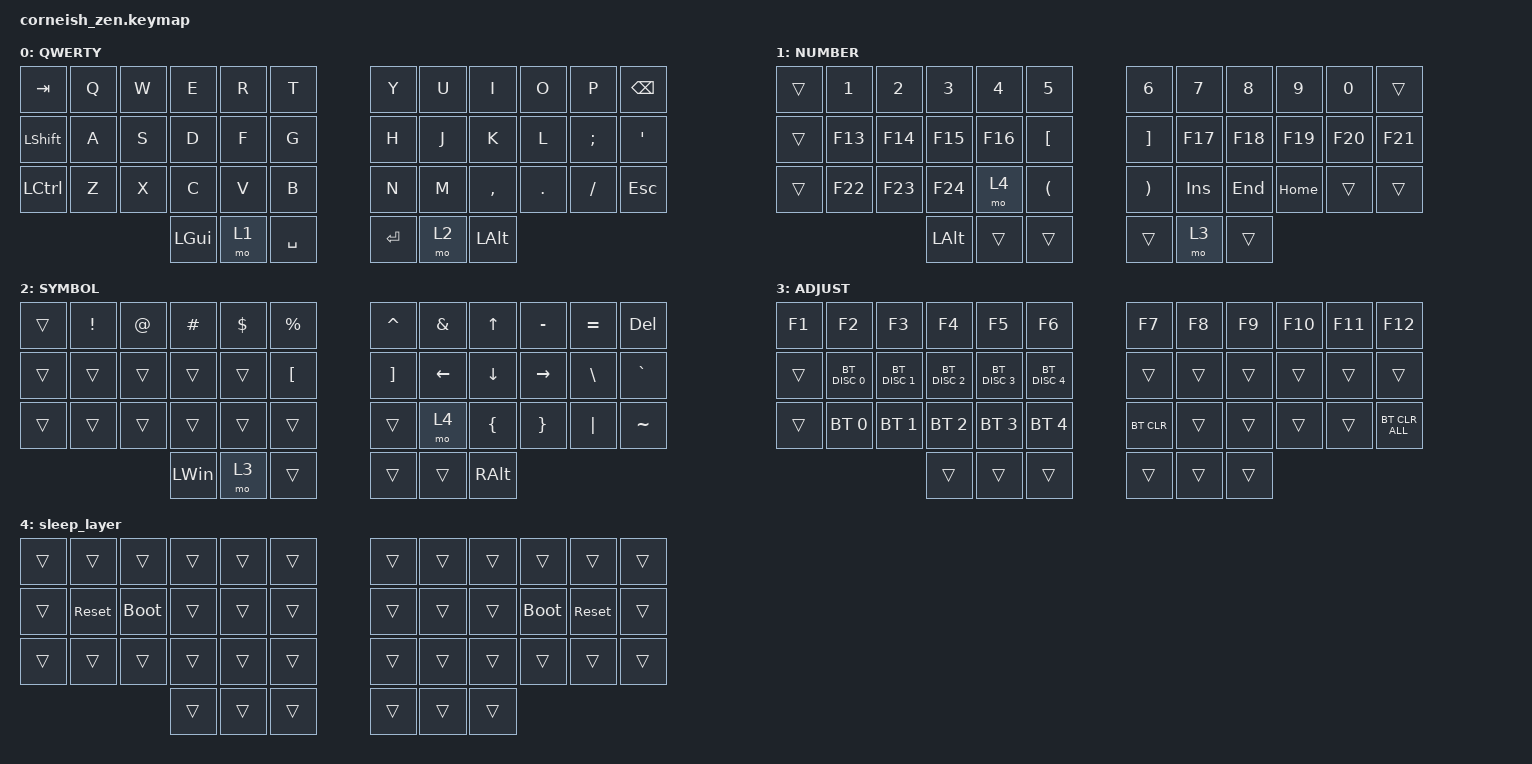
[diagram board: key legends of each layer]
/*
*
* Copyright (c) 2021 Darryl deHaan
* SPDX-License-Identifier: MIT
*
*/

#include <behaviors.dtsi>
#include <dt-bindings/zmk/bt.h>
#include <dt-bindings/zmk/keys.h>

/ {
    chosen {
        zmk,physical-layout = &foostan_corne_6col_layout;

        // zmk,physical-layout = &foostan_corne_5col_layout;
    };
};

/ {
    keymap {
        compatible = "zmk,keymap";

        default_layer {
            display-name = "QWERTY";

            // --------------------------------------------------------------------------------
            // |  TAB |  Q  |  W  |  E  |  R  |  T  |   |  Y  |  U   |  I  |  O  |  P  | BSPC |
            // | CTRL |  A  |  S  |  D  |  F  |  G  |   |  H  |  J   |  K  |  L  |  ;  |  '   |
            // | SHFT |  Z  |  X  |  C  |  V  |  B  |   |  N  |  M   |  ,  |  .  |  /  | ESC  |
            //                    | GUI | LWR | SPC |   | ENT | RSE  | ALT |

            bindings = <
&kp TAB           &kp Q  &kp W  &kp E     &kp R  &kp T        &kp Y    &kp U  &kp I      &kp O    &kp P     &kp BSPC
&kp LEFT_SHIFT    &kp A  &kp S  &kp D     &kp F  &kp G        &kp H    &kp J  &kp K      &kp L    &kp SEMI  &kp SQT
&kp LEFT_CONTROL  &kp Z  &kp X  &kp C     &kp V  &kp B        &kp N    &kp M  &kp COMMA  &kp DOT  &kp FSLH  &kp ESC
                                &kp LGUI  &mo 1  &kp SPACE    &kp RET  &mo 2  &kp LALT
            >;
        };

        lower_layer {
            display-name = "NUMBER";

            // -----------------------------------------------------------------------------------------
            // |  TAB |  1  |  2  |  3  |  4  |  5  |   |  6  |  7  |  8  |  9  |  0  | BSPC |
            // | BTCLR| BT1 | BT2 | BT3 | BT4 | BT5 |   | LFT | DWN |  UP | RGT |     |      |
            // | SHFT |     |     |     |     |     |   |     |     |     |     |     |      |
            //                    | GUI |     | SPC |   | ENT | ADJ | ALT |

            bindings = <
&trans  &kp N1   &kp N2   &kp N3    &kp N4   &kp N5                  &kp N6                 &kp N7      &kp N8   &kp N9    &kp N0   &trans
&trans  &kp F13  &kp F14  &kp F15   &kp F16  &kp LEFT_BRACKET        &kp RIGHT_BRACKET      &kp F17     &kp F18  &kp F19   &kp F20  &kp F21
&trans  &kp F22  &kp F23  &kp F24   &mo 4    &kp LEFT_PARENTHESIS    &kp RIGHT_PARENTHESIS  &kp INSERT  &kp END  &kp HOME  &trans   &trans
                          &kp LALT  &trans   &trans                  &trans                 &mo 3       &trans
            >;
        };

        raise_layer {
            display-name = "SYMBOL";

            // -----------------------------------------------------------------------------------------
            // |  TAB |  !  |  @  |  #  |  $  |  %  |   |  ^  |  &  |  *  |  (  |  )  | BSPC |
            // | CTRL |     |     |     |     |     |   |  -  |  =  |  [  |  ]  |  \  |  `   |
            // | SHFT |     |     |     |     |     |   |  _  |  +  |  {  |  }  | "|" |  ~   |
            //                    | GUI | ADJ | SPC |   | ENT |     | ALT |

            bindings = <
&trans  &kp EXCL  &kp AT  &kp HASH      &kp DLLR  &kp PRCNT           &kp CARET          &kp AMPS  &kp UP_ARROW  &kp MINUS  &kp EQUAL  &kp DEL
&trans  &trans    &trans  &trans        &trans    &kp LEFT_BRACKET    &kp RIGHT_BRACKET  &kp LEFT  &kp DOWN      &kp RIGHT  &kp BSLH   &kp GRAVE
&trans  &trans    &trans  &trans        &trans    &trans              &trans             &mo 4     &kp LBRC      &kp RBRC   &kp PIPE   &kp TILDE
                          &kp LEFT_WIN  &mo 3     &trans              &trans             &trans    &kp RALT
            >;
        };

        adjust_layer {
            display-name = "ADJUST";

            // -----------------------------------------------------------------------------------------
            // |  F1  |  F2  |  F3  |  F4  |  F5  |  F6  |   |  F7  |  F8  |  F9  | F10  | F11  | F12  |
            // |  STD |      |      |      |      |      |   |      |      |      |      |      |      |
            // |      |      |      |      |      |      |   |      |      |      |      |      |      |
            //                      |      |      |      |   |      |      |      |

            bindings = <
&kp F1          &kp F2           &kp F3           &kp F4           &kp F5        &kp F6          &kp F7      &kp F8  &kp F9  &kp F10  &kp F11  &kp F12
&trans          &bt BT_DISC 0    &bt BT_DISC 1    &bt BT_DISC 2    &bt BT_DISC 3 &bt BT_DISC 4   &trans      &trans  &trans  &trans   &trans   &trans
&trans          &bt BT_SEL 0     &bt BT_SEL 1     &bt BT_SEL 2     &bt BT_SEL 3  &bt BT_SEL 4    &bt BT_CLR  &trans  &trans  &trans   &trans   &bt BT_CLR_ALL
                                                  &trans           &trans        &trans          &trans      &trans  &trans
            >;
        };

        sleep_layer {
            bindings = <
&trans  &trans      &trans       &trans  &trans  &trans    &trans  &trans  &trans  &trans       &trans      &trans
&trans  &sys_reset  &bootloader  &trans  &trans  &trans    &trans  &trans  &trans  &bootloader  &sys_reset  &trans
&trans  &trans      &trans       &trans  &trans  &trans    &trans  &trans  &trans  &trans       &trans      &trans
                                 &trans  &trans  &trans    &trans  &trans  &trans
            >;
        };
    };
};
